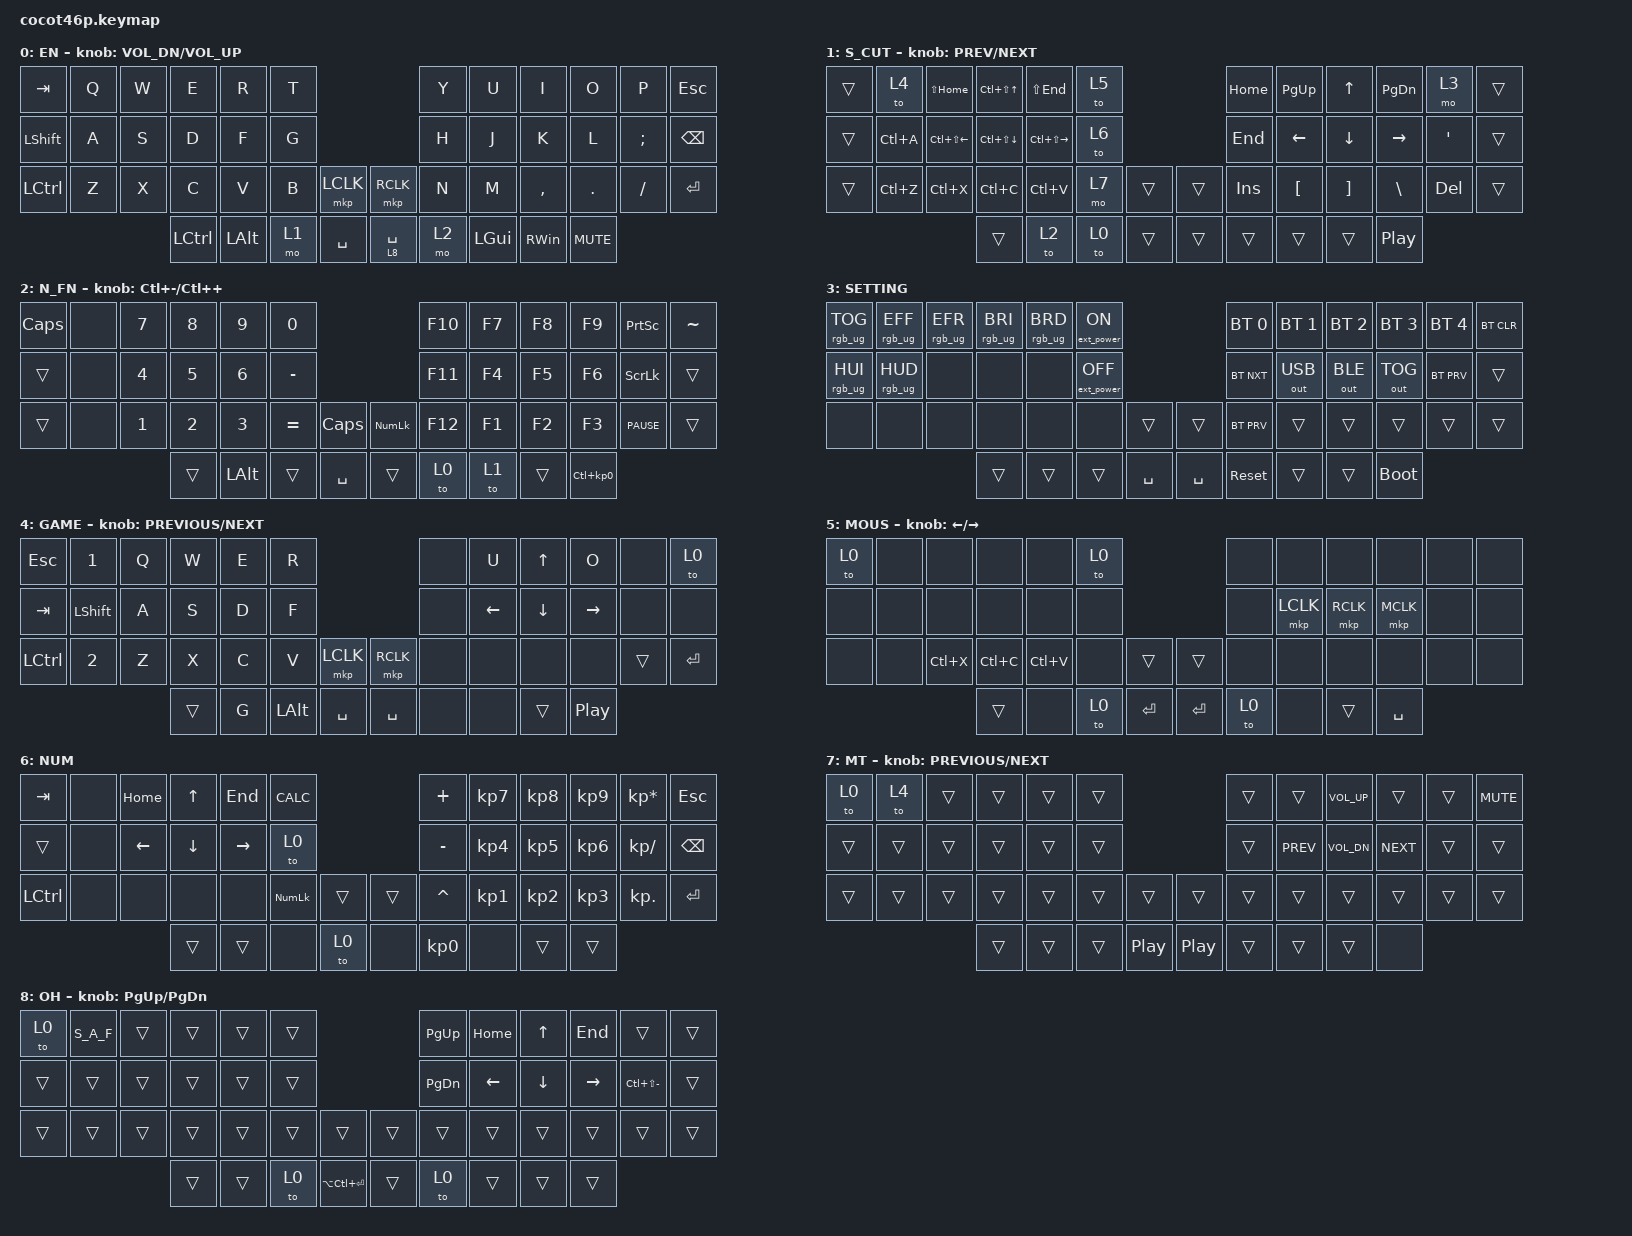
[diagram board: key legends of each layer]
/*
 * Copyright (c) 2021 The ZMK Contributors
 *
 * SPDX-License-Identifier: MIT
 */

#include <behaviors/mouse_keys.dtsi>
#include <dt-bindings/zmk/mouse.h>
#include <behaviors.dtsi>
#include <dt-bindings/zmk/bt.h>
#include <dt-bindings/zmk/ext_power.h>
#include <dt-bindings/zmk/keys.h>
#include <dt-bindings/zmk/outputs.h>
#include <dt-bindings/zmk/pointing.h>
#include <dt-bindings/zmk/rgb.h>

/ {
    combos { compatible = "zmk,combos"; };

    behaviors {
        hm: homerow_mods {
            compatible = "zmk,behavior-hold-tap";
            label = "HOMEROW_MODS";
            bindings = <&kp>, <&kp>;

            #binding-cells = <2>;
            tapping-term-ms = <200>;
            quick-tap-ms = <180>;
            flavor = "tap-preferred";
        };

        ltq: ltq {
            compatible = "zmk,behavior-hold-tap";
            label = "LTQ";
            bindings = <&mo>, <&kp>;

            #binding-cells = <2>;
            tapping-term-ms = <200>;
            quick-tap-ms = <180>;
        };

        as: auto_shift {
            compatible = "zmk,behavior-hold-tap";
            label = "AUTO_SHIFT";
            bindings = <&kp>, <&kp>;

            #binding-cells = <2>;
            tapping-term-ms = <135>;
            quick-tap-ms = <0>;
        };
    };

    macros {
        S_A_F: S_A_F {
            compatible = "zmk,behavior-macro";
            #binding-cells = <0>;
            bindings = <&kp LS(S) &kp LS(E) &kp LS(L) &kp LS(C) &kp LS(E) &kp LS(C) &kp LS(T) &kp SPACE &kp STAR &kp SPACE &kp LS(F) &kp LS(R) &kp LS(O) &kp LS(M) &kp SPACE>;
            label = "S_A_F";
        };

        DP_FN: DP_FN {
            compatible = "zmk,behavior-macro";
            #binding-cells = <0>;
            bindings = <&none>;
            label = "DP_FN";
        };
    };

    keymap {
        compatible = "zmk,keymap";

        EN {
            bindings = <
&kp TAB         &kp Q  &kp W  &kp E      &kp R         &kp T                          &kp Y  &kp U         &kp I          &kp O       &kp P          &kp ESC
&kp LEFT_SHIFT  &kp A  &kp S  &kp D      &kp F         &kp G                          &kp H  &kp J         &kp K          &kp L       &kp SEMICOLON  &kp BACKSPACE
&kp LCTRL       &kp Z  &kp X  &kp C      &kp V         &kp B  &mkp LCLK  &mkp RCLK    &kp N  &kp M         &kp COMMA      &kp PERIOD  &kp SLASH      &kp ENTER
                              &kp LCTRL  &kp LEFT_ALT  &mo 1  &kp SPACE  &lt 8 SPACE  &mo 2  &kp LEFT_GUI  &kp RIGHT_WIN  &kp C_MUTE
            >;

            sensor-bindings = <&inc_dec_kp C_VOL_DN C_VOL_UP>;
            label = "EN";
        };

        S_CUT {
            bindings = <
&trans  &to 4      &kp LS(HOME)      &kp LC(LS(UP))    &kp LS(END)        &to 5                  &kp HOME  &kp PG_UP  &kp UP_ARROW  &kp PAGE_DOWN  &mo 3    &trans
&trans  &kp LC(A)  &kp LC(LS(LEFT))  &kp LC(LS(DOWN))  &kp LC(LS(RIGHT))  &to 6                  &kp END   &kp LEFT   &kp DOWN      &kp RIGHT      &kp SQT  &trans
&trans  &kp LC(Z)  &kp LC(X)         &kp LC(C)         &kp LC(V)          &mo 7  &trans  &trans  &kp INS   &kp LBKT   &kp RBKT      &kp BACKSLASH  &kp DEL  &trans
                                     &trans            &to 2              &to 0  &trans  &trans  &trans    &trans     &trans        &kp C_PP
            >;

            label = "S_CUT";
            sensor-bindings = <&inc_dec_kp C_PREV C_NEXT>;
        };

        N_FN {
            bindings = <
&kp CAPSLOCK  &none  &kp N7        &kp NUMBER_8  &kp NUMBER_9  &kp NUMBER_0                          &kp F10  &kp F7  &kp F8  &kp F9               &kp PRINTSCREEN  &kp TILDE
&trans        &none  &kp NUMBER_4  &kp N5        &kp NUMBER_6  &kp MINUS                             &kp F11  &kp F4  &kp F5  &kp F6               &kp SCROLLLOCK   &trans
&trans        &none  &kp NUMBER_1  &kp NUMBER_2  &kp NUMBER_3  &kp EQUAL     &kp CLCK   &kp KP_NLCK  &kp F12  &kp F1  &kp F2  &kp F3               &kp C_PAUSE      &trans
                                   &trans        &kp LALT      &trans        &kp SPACE  &trans       &to 0    &to 1   &trans  &kp LC(KP_NUMBER_0)
            >;

            label = "N_FN";
            sensor-bindings = <&inc_dec_kp LC(MINUS) LC(PLUS)>;
        };

        SETTING {
            bindings = <
&rgb_ug RGB_TOG  &rgb_ug RGB_EFF  &rgb_ug RGB_EFR  &rgb_ug RGB_BRI  &rgb_ug RGB_BRD  &ext_power EP_ON                         &bt BT_SEL 0  &bt BT_SEL 1  &bt BT_SEL 2  &bt BT_SEL 3  &bt BT_SEL 4  &bt BT_CLR
&rgb_ug RGB_HUI  &rgb_ug RGB_HUD  &none            &none            &none            &ext_power EP_OFF                        &bt BT_NXT    &out OUT_USB  &out OUT_BLE  &out OUT_TOG  &bt BT_PRV    &trans
&none            &none            &none            &none            &none            &none              &trans     &trans     &bt BT_PRV    &trans        &trans        &trans        &trans        &trans
                                                   &trans           &trans           &trans             &kp SPACE  &kp SPACE  &sys_reset    &trans        &trans        &bootloader
            >;

            label = "SETTING";
        };

        GAME {
            bindings = <
&kp ESC    &kp NUMBER_1  &kp Q  &kp W   &kp E  &kp R                           &none  &kp U     &kp UP_ARROW  &kp O      &none   &to 0
&kp TAB    &kp LSHFT     &kp A  &kp S   &kp D  &kp F                           &none  &kp LEFT  &kp DOWN      &kp RIGHT  &none   &none
&kp LCTRL  &kp NUMBER_2  &kp Z  &kp X   &kp C  &kp V     &mkp LCLK  &mkp RCLK  &none  &none     &none         &none      &trans  &kp ENTER
                                &trans  &kp G  &kp LALT  &kp SPACE  &kp SPACE  &none  &none     &trans        &kp C_PP
            >;

            label = "GAME";
            sensor-bindings = <&inc_dec_kp C_PREVIOUS C_NEXT>;
        };

        MOUS {
            bindings = <
&to 0  &none  &none      &none      &none      &to 0                        &none  &none      &none      &none      &none  &none
&none  &none  &none      &none      &none      &none                        &none  &mkp LCLK  &mkp RCLK  &mkp MCLK  &none  &none
&none  &none  &kp LC(X)  &kp LC(C)  &kp LC(V)  &none  &trans     &trans     &none  &none      &none      &none      &none  &none
                         &trans     &none      &to 0  &kp ENTER  &kp ENTER  &to 0  &none      &trans     &kp SPACE
            >;

            label = "MOUS";
            sensor-bindings = <&inc_dec_kp LEFT RIGHT>;
        };

        NUM {
            bindings = <
&kp TAB    &none  &kp HOME  &kp UP    &kp END    &kp K_CALC                  &kp PLUS         &kp KP_NUMBER_7  &kp KP_NUMBER_8  &kp KP_NUMBER_9  &kp KP_MULTIPLY  &kp ESC
&trans     &none  &kp LEFT  &kp DOWN  &kp RIGHT  &to 0                       &kp MINUS        &kp KP_NUMBER_4  &kp KP_NUMBER_5  &kp KP_NUMBER_6  &kp KP_SLASH     &kp BACKSPACE
&kp LCTRL  &none  &none     &none     &none      &kp KP_NUM  &trans  &trans  &kp CARET        &kp KP_NUMBER_1  &kp KP_NUMBER_2  &kp KP_NUMBER_3  &kp KP_DOT       &kp ENTER
                            &trans    &trans     &none       &to 0   &none   &kp KP_NUMBER_0  &none            &trans           &trans
            >;

            label = "NUM";
        };

        MT {
            bindings = <
&to 0   &to 4   &trans  &trans  &trans  &trans                      &trans  &trans      &kp C_VOL_UP  &trans      &trans  &kp C_MUTE
&trans  &trans  &trans  &trans  &trans  &trans                      &trans  &kp C_PREV  &kp C_VOL_DN  &kp C_NEXT  &trans  &trans
&trans  &trans  &trans  &trans  &trans  &trans  &trans    &trans    &trans  &trans      &trans        &trans      &trans  &trans
                        &trans  &trans  &trans  &kp C_PP  &kp C_PP  &trans  &trans      &trans        &none
            >;

            label = "MT";
            sensor-bindings = <&inc_dec_kp C_PREVIOUS C_NEXT>;
        };

        OH {
            bindings = <
&to 0   &S_A_F  &trans  &trans  &trans  &trans                             &kp PG_UP  &kp HOME  &kp UP    &kp END    &trans             &trans
&trans  &trans  &trans  &trans  &trans  &trans                             &kp PG_DN  &kp LEFT  &kp DOWN  &kp RIGHT  &kp LC(LS(MINUS))  &trans
&trans  &trans  &trans  &trans  &trans  &trans  &trans             &trans  &trans     &trans    &trans    &trans     &trans             &trans
                        &trans  &trans  &to 0   &kp LA(LC(ENTER))  &trans  &to 0      &trans    &trans    &trans
            >;

            label = "OH";
            sensor-bindings = <&inc_dec_kp PAGE_UP PAGE_DOWN>;
        };
    };
};
